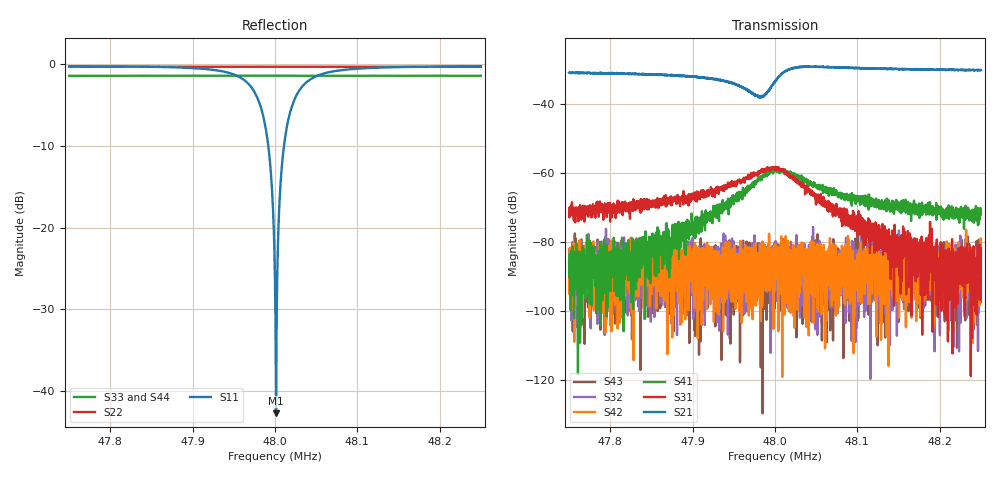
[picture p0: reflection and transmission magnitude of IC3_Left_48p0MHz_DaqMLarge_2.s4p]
#  HZ  S  DB  R  50.00
! Rohde & Schwarz Vector Network Analyzer
! Rohde-Schwarz,ZNB8-4Port,1311601044102961,2.82
! Created: UTC 2/12/2019, 11:07:52 AM
! freq[Hz]  db:S11  ang:S11  db:S12  ang:S12  db:S13  ang:S13  db:S14  ang:S14
!  db:S21  ang:S21  db:S22  ang:S22  db:S23  ang:S23  db:S24  ang:S24
!  db:S31  ang:S31  db:S32  ang:S32  db:S33  ang:S33  db:S34  ang:S34
!  db:S41  ang:S41  db:S42  ang:S42  db:S43  ang:S43  db:S44  ang:S44
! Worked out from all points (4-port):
!   2001 points, 47.75 MHz to 48.25 MHz, reference 50 ohm
!   strongest paths, dB at 47.75 MHz, 47.875 MHz, 48 MHz, 48.125 MHz, 48.25 MHz:
!     S21: -30.9, -31.5, -33.3, -29.7, -30.1
!     S31: -71.3, -68.3, -59.1, -77.7, -81.8
!     S41: -85.8, -76.5, -59.2, -68.0, -72.1
!     S42: -85.2, -82.9, -94.2, -84.8, -89.2
!     S32: -90.6, -100.0, -85.0, -95.2, -85.6
!     S43: -89.2, -87.0, -82.0, -89.8, -91.1
!   lowest |S11| = -42.7 dB at 48.001 MHz (marker M1), VSWR 1.01, Z = 49.3 - j0.137 ohm
!   |S11| at or under -10 dB: 47.99183 MHz to 48.01088 MHz (19.05 kHz wide, 0.0397 % of centre)
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4.775e7  -0.27 0.6  -30.87 -143.9  -72.45 -27.3  -83.68 -81.9
         -30.90 -143.8  -0.31 -109.3  -87.14 125.1  -85.28 103.0
         -71.33 -21.1  -90.63 -62.6  -1.43 131.6  -83.42 87.2
         -85.83 139.8  -85.16 -179.8  -89.23 -34.2  -1.38 126.1
4.79685e7  -2.49 -43.3  -36.08 -148.7  -61.95 -68.4  -65.07 110.9
           -36.29 -149.5  -0.31 -113.7  -85.61 -93.7  -83.00 -123.2
           -61.70 -59.5  -99.46 -166.7  -1.42 128.9  -84.29 65.8
           -65.02 106.2  -84.96 -14.2  -88.37 -126.7  -1.37 123.4
4.799125e7  -9.55 -75.3  -36.53 -107.0  -58.67 -94.7  -60.01 76.6
            -36.32 -108.4  -0.31 -114.1  -78.60 116.2  -94.52 19.9
            -58.52 -92.4  -85.53 -147.3  -1.42 128.6  -95.37 -55.4
            -59.56 75.1  -84.10 -127.5  -81.51 -55.8  -1.37 123.1
4.800125e7  -42.71 -169.0  -32.96 -102.0  -58.76 -117.5  -59.32 60.6
            -33.11 -101.0  -0.33 -114.3  -85.48 106.5  -79.87 -135.5
            -58.18 -111.7  -80.83 73.4  -1.42 128.5  -81.45 -4.0
            -59.28 54.7  -88.00 -89.3  -89.40 30.4  -1.37 123.0
4.801125e7  -9.70 66.6  -30.70 -107.7  -59.91 -131.2  -59.47 36.7
            -30.66 -107.6  -0.32 -114.6  -93.47 17.7  -98.25 51.1
            -59.91 -134.2  -90.86 -101.8  -1.42 128.3  -82.26 112.1
            -59.61 35.1  -87.80 -131.5  -82.04 -105.3  -1.36 122.9
4.8034e7  -2.64 35.4  -29.25 -125.5  -63.72 -164.9  -62.32 4.4
          -29.12 -125.6  -0.33 -115.0  -83.61 -88.6  -82.88 -142.0
          -62.82 -161.1  -87.77 9.9  -1.42 128.1  -81.16 11.4
          -62.06 8.6  -86.03 -147.6  -89.43 -3.6  -1.37 122.7
4.825e7  -0.25 -7.4  -30.12 -153.1  -84.76 -179.0  -72.04 -26.2
         -30.15 -153.6  -0.33 -119.3  -83.45 -99.6  -87.43 -82.7
         -81.85 -151.8  -85.63 -101.6  -1.42 125.4  -85.07 134.5
         -72.08 -46.6  -89.15 -131.5  -91.14 93.8  -1.37 120.0
